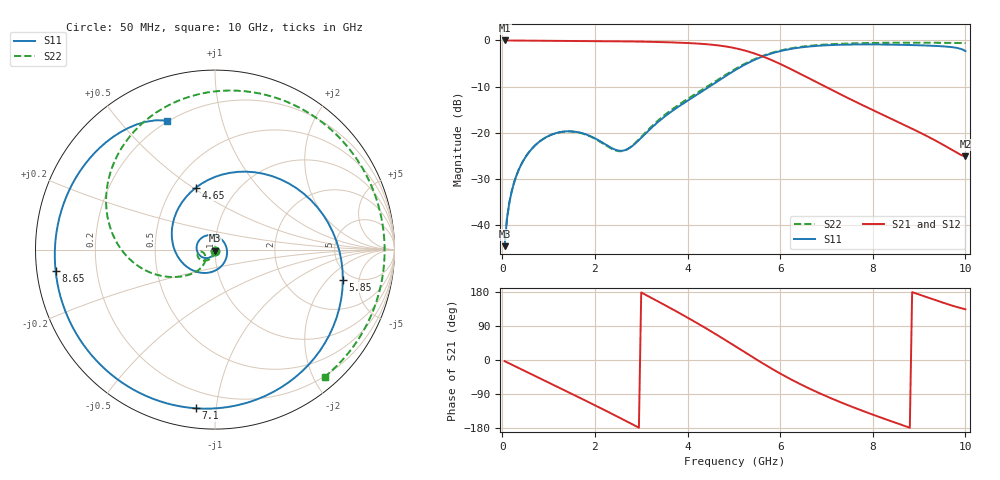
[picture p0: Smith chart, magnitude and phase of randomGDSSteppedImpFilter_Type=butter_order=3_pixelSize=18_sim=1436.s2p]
! freq	dB(S11)	phase(S11)	dB(S12)	phase(S12)
!  dB(S21)	phase(S21)	dB(S22)	phase(S22)
!S-par simulation data
#  GHz  S  DB  R 50
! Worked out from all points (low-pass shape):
!   200 points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, 50 MHz to 10 GHz, reference 50 ohm
!   highest |S21| = -0.01 dB at 50 MHz (marker M1); lowest = -25.1 dB at 10 GHz (marker M2)
!   |S21| within 3 dB of the highest: start of sweep to 5.499 GHz
!   lowest |S11| = -44.5 dB at 50 MHz (marker M3), VSWR 1.01, Z = 50 - j0.594 ohm
!   |S11| at or under -10 dB: start of sweep to 4.474 GHz
!   |S22| runs from -44.5 to -0.5 dB; largest |S21 - S12| = 0
!   S11 on the Smith chart (normalised r, x): 50 MHz: 1.00, -0.01; 4.65 GHz: 0.65, +0.51; 5.85 GHz: 4.20, -3.02; 7.1 GHz: 0.10, -0.88; 8.65 GHz: 0.06, -0.07; 10 GHz: 0.19, +0.68
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0.05  -44.53 -91.1  -0.01 -3.0  -0.01 -3.0  -44.51 -90.1
0.1  -38.68 -95.4  -0.01 -6.0  -0.01 -6.0  -38.66 -93.5
0.2  -32.80 -103.4  -0.02 -12.0  -0.02 -12.0  -32.78 -99.5
0.55  -24.54 -128.9  -0.06 -32.8  -0.06 -32.8  -24.52 -117.9
1.15  -20.09 -172.7  -0.12 -68.5  -0.12 -68.5  -20.10 -146.0
1.75  -20.14 137.2  -0.16 -104.3  -0.16 -104.3  -20.20 -167.9
2.15  -22.03 93.0  -0.18 -128.6  -0.18 -128.6  -22.17 -171.9
2.65  -23.75 7.6  -0.21 -159.6  -0.21 -159.6  -23.78 -146.7
3.4  -17.34 -107.8  -0.35 152.2  -0.35 152.2  -17.01 -128.5
4.05  -12.74 176.7  -0.59 108.4  -0.59 108.4  -12.34 -141.6
4.65  -8.84 107.1  -1.06 65.2  -1.06 65.2  -8.52 -159.5
5.05  -6.30 62.9  -1.73 34.8  -1.73 34.8  -6.07 -176.4
5.4  -4.42 27.3  -2.67 8.0  -2.67 8.0  -4.25 165.4
5.85  -2.71 -13.2  -4.41 -25.2  -4.41 -25.2  -2.59 139.3
6.2  -1.89 -40.5  -6.05 -48.9  -6.05 -48.9  -1.77 118.7
6.7  -1.25 -73.8  -8.59 -79.3  -8.59 -79.3  -1.10 90.5
7.1  -1.01 -96.8  -10.64 -101.1  -10.64 -101.1  -0.82 69.3
7.75  -0.87 -129.8  -13.87 -132.8  -13.87 -132.8  -0.59 37.6
8.35  -0.90 -158.2  -16.73 -159.5  -16.73 -159.5  -0.50 11.3
8.65  -0.95 -172.3  -18.15 -172.4  -18.15 -172.4  -0.49 -0.9
9.4  -1.21 149.8  -21.92 156.1  -21.92 156.1  -0.51 -28.9
10  -2.30 110.5  -25.06 133.8  -25.06 133.8  -0.58 -49.1
